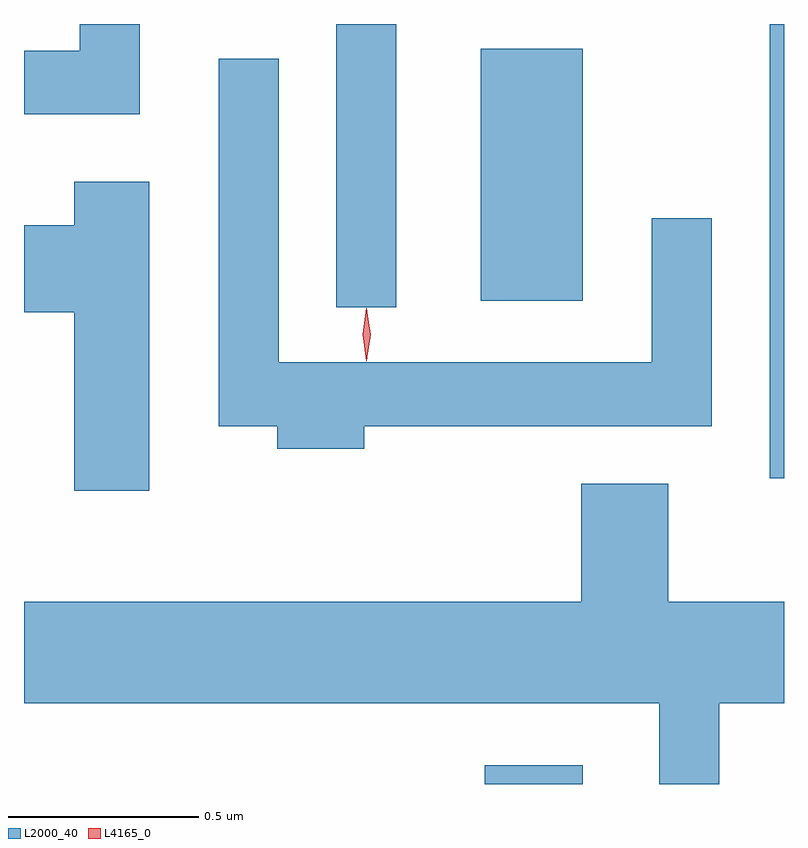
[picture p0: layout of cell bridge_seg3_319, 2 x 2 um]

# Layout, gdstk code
import gdstk
lib = gdstk.Library(unit=1e-6, precision=1e-09)
def R(c, l, rs):  # rectangles x0, y0, x1, y1
    for r in rs: c.add(gdstk.rectangle(r[:2], r[2:], *l))
def P(c, l, *ps):  # polygons
    for p in ps: c.add(gdstk.Polygon(p, *l))
L2000_40 = (2000, 40)
L4165_0 = (4165, 0)

bridge_seg3_319 = lib.new_cell('bridge_seg3_319')
R(bridge_seg3_319, L2000_40, [(566.396,1170.204,566.654,1170.254), (567.146,1171.008,567.184,1172.204), (566.006,1171.458,566.164,1172.204), (566.386,1171.476,566.654,1172.139)])
P(bridge_seg3_319, L2000_40, [(565.489,1172.204),(565.331,1172.204),(565.331,1172.134),(565.184,1172.134),(565.184,1171.966),(565.489,1171.966)],
  [(566.079,1171.146),(566.994,1171.146),(566.994,1171.693),(566.836,1171.693),(566.836,1171.314),(565.854,1171.314),(565.854,1172.113),(565.696,1172.113),(565.696,1171.146),(565.851,1171.146),(565.851,1171.086),(566.079,1171.086)],
  [(565.514,1171.789),(565.316,1171.789),(565.316,1171.674),(565.184,1171.674),(565.184,1171.446),(565.316,1171.446),(565.316,1170.976),(565.514,1170.976)],
  [(567.014,1170.416),(567.184,1170.416),(567.184,1170.684),(566.879,1170.684),(566.879,1170.994),(566.651,1170.994),(566.651,1170.684),(565.184,1170.684),(565.184,1170.416),(566.856,1170.416),(566.856,1170.204),(567.014,1170.204)])
P(bridge_seg3_319, L4165_0, [(566.086,1171.32),(566.086,1171.32),(566.076,1171.386),(566.085,1171.452),(566.086,1171.453),(566.086,1171.452),(566.096,1171.386),(566.086,1171.32)],
  [(566.085,1171.317),(566.084,1171.318),(566.075,1171.387),(566.084,1171.456),(566.085,1171.456),(566.086,1171.456),(566.095,1171.387),(566.086,1171.318)])

lib.write_gds('bridge_seg3_319.gds')
